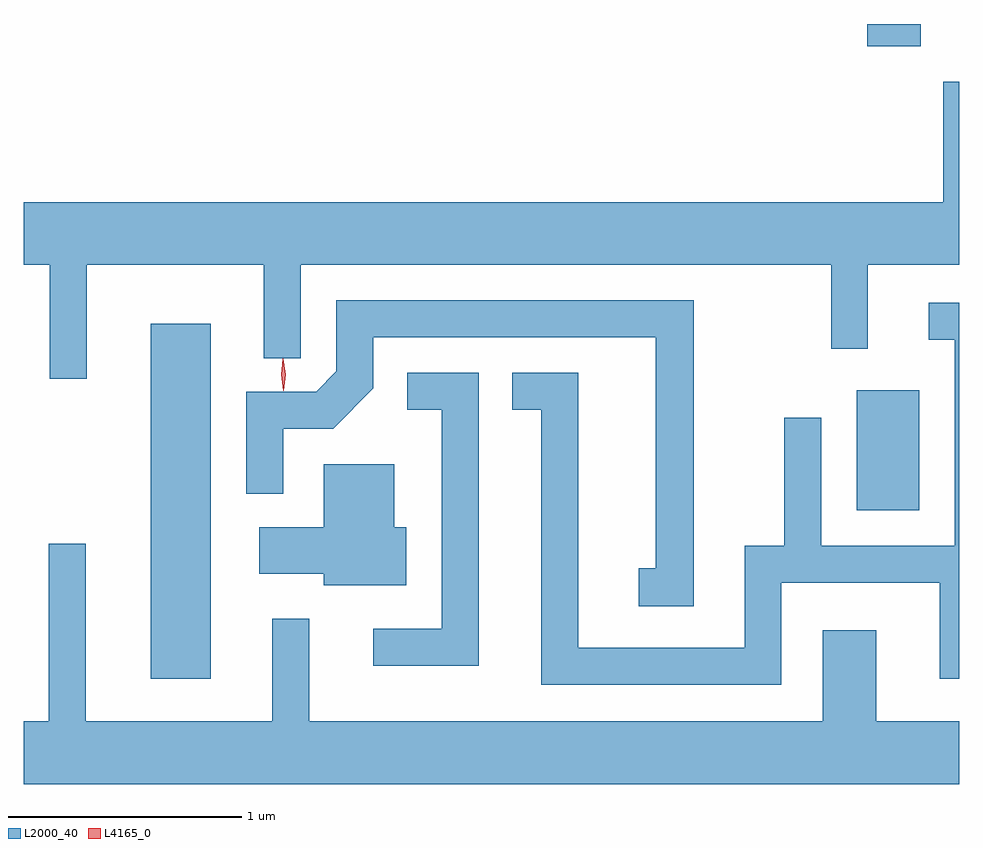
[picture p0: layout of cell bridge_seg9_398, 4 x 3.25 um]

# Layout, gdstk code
import gdstk
lib = gdstk.Library(unit=1e-6, precision=1e-09)
def R(c, l, rs):  # rectangles x0, y0, x1, y1
    for r in rs: c.add(gdstk.rectangle(r[:2], r[2:], *l))
def P(c, l, *ps):  # polygons
    for p in ps: c.add(gdstk.Polygon(p, *l))
L2000_40 = (2000, 40)
L4165_0 = (4165, 0)

bridge_seg9_398 = lib.new_cell('bridge_seg9_398')
R(bridge_seg9_398, L2000_40, [(527.516,2047.766,527.774,2049.284), (530.536,2048.486,530.804,2048.999), (530.581,2050.471,530.809,2050.566)])
P(bridge_seg9_398, L2000_40, [(527.244,2049.536),(528.001,2049.536),(528.001,2049.137),(528.159,2049.137),(528.159,2049.536),(530.426,2049.536),(530.426,2049.178),(530.584,2049.178),(530.584,2049.536),(530.974,2049.536),(530.974,2050.319),(530.906,2050.319),(530.906,2049.804),(526.974,2049.804),(526.974,2049.536),(527.086,2049.536),(527.086,2049.048),(527.244,2049.048)],
  [(529.839,2049.384),(528.311,2049.384),(528.311,2049.082),(528.224,2048.994),(527.926,2048.994),(527.926,2048.558),(528.084,2048.558),(528.084,2048.836),(528.297,2048.836),(528.469,2049.009),(528.469,2049.226),(529.676,2049.226),(529.676,2048.239),(529.603,2048.239),(529.603,2048.076),(529.839,2048.076)],
  [(530.214,2048.176),(530.891,2048.176),(530.891,2047.766),(530.974,2047.766),(530.974,2049.374),(530.843,2049.374),(530.843,2049.216),(530.956,2049.216),(530.956,2048.334),(530.384,2048.334),(530.384,2048.883),(530.226,2048.883),(530.226,2048.334),(530.056,2048.334),(530.056,2047.899),(529.344,2047.899),(529.344,2049.074),(529.063,2049.074),(529.063,2048.916),(529.186,2048.916),(529.186,2047.741),(530.214,2047.741)],
  [(528.919,2049.074),(528.613,2049.074),(528.613,2048.916),(528.761,2048.916),(528.761,2047.979),(528.468,2047.979),(528.468,2047.821),(528.919,2047.821)],
  [(528.609,2048.414),(528.559,2048.414),(528.559,2048.684),(528.256,2048.684),(528.256,2048.414),(527.981,2048.414),(527.981,2048.216),(528.256,2048.216),(528.256,2048.166),(528.609,2048.166)],
  [(530.974,2047.584),(530.619,2047.584),(530.619,2047.974),(530.391,2047.974),(530.391,2047.584),(528.194,2047.584),(528.194,2048.023),(528.036,2048.023),(528.036,2047.584),(527.239,2047.584),(527.239,2048.343),(527.081,2048.343),(527.081,2047.584),(526.974,2047.584),(526.974,2047.316),(530.974,2047.316)])
P(bridge_seg9_398, L4165_0, [(528.084,2048.997),(528.074,2049.066),(528.082,2049.135),(528.082,2049.136),(528.083,2049.135),(528.094,2049.066),(528.085,2048.997),(528.085,2048.997)],
  [(528.085,2048.999),(528.084,2049),(528.074,2049.066),(528.082,2049.132),(528.082,2049.132),(528.083,2049.132),(528.094,2049.066),(528.085,2049)])

lib.write_gds('bridge_seg9_398.gds')
